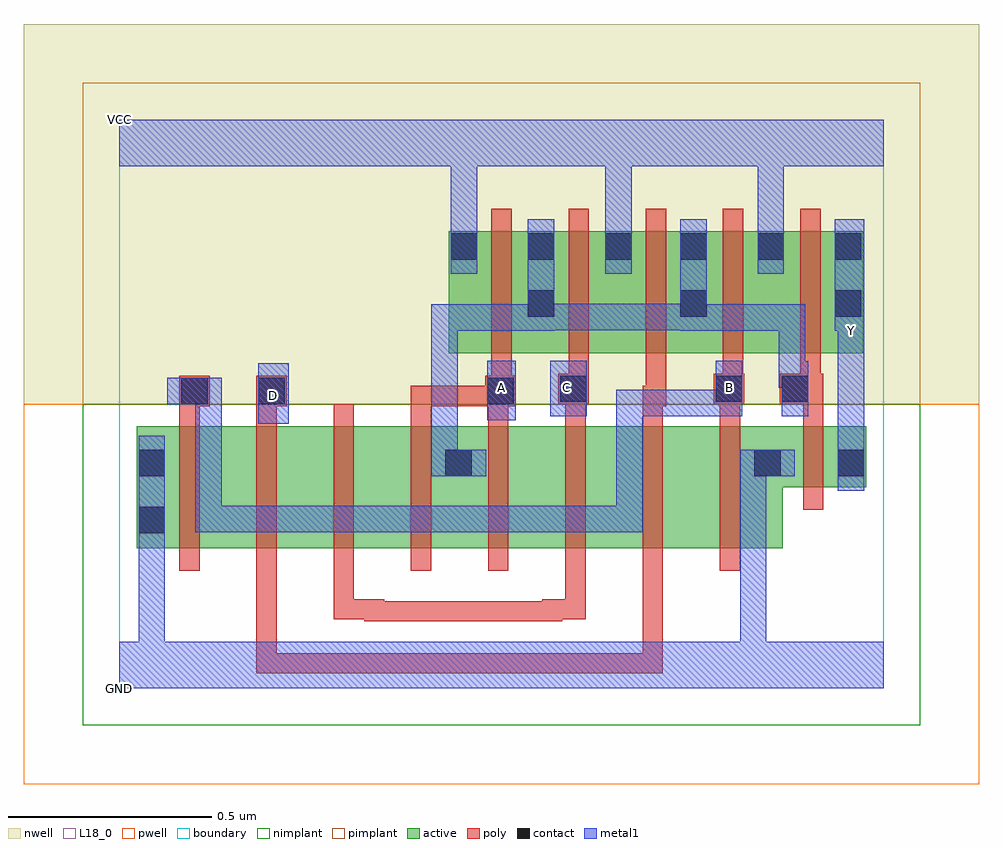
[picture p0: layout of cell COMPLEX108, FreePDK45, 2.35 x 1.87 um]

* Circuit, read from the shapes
.subckt COMPLEX108 A B C D GND VCC Y
M1 n1 B GND VSUBS nfet w=0.3u l=0.05u
M2 n2 D n1 VSUBS nfet w=0.3u l=0.05u
M3 n3 C n2 VSUBS nfet w=0.3u l=0.05u
M4 n4 A n3 VSUBS nfet w=0.3u l=0.05u
M5 n5 A n4 VSUBS nfet w=0.3u l=0.05u
M6 n6 C n5 VSUBS nfet w=0.3u l=0.05u
M7 n7 D n6 VSUBS nfet w=0.3u l=0.05u
M8 GND B n7 VSUBS nfet w=0.3u l=0.05u
M9 Y n4 GND VSUBS nfet w=0.15u l=0.05u
M10 n4 A VCC n8 pfet w=0.3u l=0.05u
M11 VCC C n4 n8 pfet w=0.3u l=0.05u
M12 n4 D VCC n8 pfet w=0.3u l=0.05u
M13 VCC B n4 n8 pfet w=0.3u l=0.05u
M14 Y n4 VCC n8 pfet w=0.3u l=0.05u
.ends

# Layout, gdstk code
import gdstk
lib = gdstk.Library(unit=1e-6, precision=1e-09)
def R(c, l, rs):  # rectangles x0, y0, x1, y1
    for r in rs: c.add(gdstk.rectangle(r[:2], r[2:], *l))
def A(c, l, x, y, w, h, nx, ny, dx, dy):  # array of equal rectangles
    R(c, l, [(x+i*dx, y+j*dy, x+i*dx+w, y+j*dy+h) for i in range(nx) for j in range(ny)])
active = (1, 0)
pwell = (2, 0)
nwell = (3, 0)
nimplant = (4, 0)
pimplant = (5, 0)
poly = (9, 0)
contact = (10, 0)
metal1 = (11, 0)
L18_0 = (18, 0)
boundary = (235, 0)

complex108 = lib.new_cell('COMPLEX108')
A(complex108, active, 1.375, 0.825, 0.075, 0.3, 3, 1, 0.19, 0)
R(complex108, active, [(0.042,0.345,0.267,0.645), (0.042,0.345,0.117,0.645), (0.267,0.345,0.457,0.645), (0.457,0.345,0.647,0.645), (0.647,0.345,0.872,0.645), (0.797,0.345,1.027,0.645), (0.797,0.345,0.872,0.645), (1.027,0.345,1.217,0.645), (1.217,0.345,1.407,0.645), (1.407,0.345,1.632,0.645), (1.557,0.495,1.632,0.645), (1.557,0.495,1.837,0.645), (1.762,0.495,1.837,0.645), (0.81,0.825,0.885,1.125), (0.81,0.825,1.075,1.125), (1,0.825,1.075,1.125), (1,0.825,1.265,1.125), (1.19,0.825,1.45,1.125), (1.375,0.825,1.64,1.125), (1.565,0.825,1.83,1.125), (1.19,0.872,1.265,1.125)])
R(complex108, pwell, [(-0.235,-0.235,2.115,0.7)])
R(complex108, nwell, [(-0.235,0.7,2.115,1.635)])
R(complex108, nimplant, [(-0.09,-0.09,1.97,0.7)])
R(complex108, pimplant, [(-0.09,0.7,1.97,1.49)])
A(complex108, poly, 0.147, 0.29, 0.05, 0.41, 8, 1, 0.19, 0)
A(complex108, poly, 0.915, 0.77, 0.05, 0.41, 5, 1, 0.19, 0)
R(complex108, poly, [(0.337,0.037,0.387,0.34), (0.337,0.037,0.387,0.087), (0.337,0.037,0.387,0.087), (0.337,0.037,0.387,0.087), (0.337,0.037,0.387,0.087), (0.337,0.037,0.387,0.087), (0.337,0.037,0.52,0.087), (0.47,0.037,0.52,0.087), (0.47,0.037,0.52,0.087), (0.47,0.037,0.52,0.087), (0.47,0.037,0.767,0.087), (0.717,0.037,0.767,0.087), (0.717,0.037,0.9,0.087), (0.85,0.037,0.9,0.087), (0.85,0.037,0.9,0.087), (0.85,0.037,0.9,0.087), (0.85,0.037,1.205,0.087), (1.155,0.037,1.205,0.087), (1.155,0.037,1.205,0.087), (1.155,0.037,1.205,0.087), (1.155,0.037,1.337,0.087), (1.287,0.037,1.337,0.34), (1.287,0.037,1.337,0.087), (1.287,0.037,1.337,0.087), (1.287,0.037,1.337,0.087), (1.287,0.037,1.337,0.087), (1.287,0.037,1.337,0.087), (0.602,0.165,0.652,0.22), (0.602,0.165,0.71,0.215), (0.66,0.165,0.71,0.215), (0.66,0.165,0.865,0.215), (0.815,0.165,0.865,0.215), (0.815,0.165,0.9,0.215), (0.85,0.165,0.9,0.215), (0.85,0.165,1.09,0.215), (1.04,0.165,1.09,0.22), (0.527,0.17,0.577,0.22), (0.527,0.17,0.577,0.34), (0.527,0.17,0.652,0.22), (1.04,0.17,1.147,0.22), (1.097,0.17,1.147,0.22), (1.097,0.17,1.147,0.34), (1.682,0.44,1.732,0.7), (0.147,0.65,0.197,0.745), (0.337,0.65,0.387,0.745), (0.717,0.65,0.767,0.745), (0.907,0.65,0.957,0.745), (1.097,0.65,1.147,0.75), (1.287,0.65,1.337,0.745), (1.477,0.65,1.527,0.75), (1.682,0.65,1.732,0.75), (0.147,0.695,0.222,0.77), (0.337,0.695,0.412,0.77), (0.717,0.695,0.767,0.745), (0.717,0.695,0.95,0.745), (0.9,0.695,0.975,0.77), (0.9,0.695,0.95,0.745), (0.9,0.695,0.95,0.745), (1.287,0.695,1.345,0.745), (1.295,0.695,1.345,0.82), (1.08,0.7,1.155,0.775), (1.462,0.7,1.537,0.775), (1.625,0.7,1.732,0.775), (0.915,0.72,0.965,0.82), (1.105,0.725,1.155,0.82), (1.485,0.725,1.535,0.82), (1.675,0.725,1.725,0.82)])
A(complex108, contact, 0.815, 1.055, 0.065, 0.065, 3, 1, 0.19, 0)
A(complex108, contact, 1.38, 1.055, 0.065, 0.065, 3, 1, 0.19, 0)
R(complex108, contact, [(0.047,0.382,0.112,0.447), (0.047,0.522,0.112,0.587), (0.802,0.522,0.867,0.587), (1.562,0.522,1.627,0.587), (1.767,0.522,1.832,0.587), (0.152,0.7,0.217,0.765), (0.342,0.7,0.407,0.765), (0.905,0.7,0.97,0.765), (1.085,0.705,1.15,0.77), (1.467,0.705,1.532,0.77), (1.63,0.705,1.695,0.77), (1.005,0.915,1.07,0.98), (1.38,0.915,1.445,0.98), (1.76,0.915,1.825,0.98)])
R(complex108, metal1, [(0,0,1.88,0.115), (0.047,0.05,0.112,0.115), (0.047,0.05,0.112,0.115), (0.047,0.05,0.112,0.115), (0.047,0.05,0.112,0.115), (0.047,0.05,0.112,0.412), (1.527,0.05,1.592,0.115), (1.527,0.05,1.592,0.115), (1.527,0.05,1.592,0.587), (0.047,0.347,0.112,0.622), (0.187,0.385,0.252,0.45), (0.187,0.385,0.42,0.45), (0.187,0.385,0.252,0.765), (0.355,0.385,0.42,0.45), (0.355,0.385,0.42,0.45), (0.355,0.385,0.42,0.45), (0.355,0.385,0.557,0.45), (0.492,0.385,0.557,0.45), (0.492,0.385,0.695,0.45), (0.63,0.385,0.695,0.45), (0.63,0.385,0.695,0.45), (0.63,0.385,0.695,0.45), (0.63,0.385,0.695,0.45), (0.63,0.385,0.695,0.45), (0.63,0.385,0.902,0.45), (0.837,0.385,0.902,0.45), (0.837,0.385,0.902,0.45), (0.837,0.385,0.902,0.45), (0.837,0.385,1.04,0.45), (0.975,0.385,1.04,0.45), (0.975,0.385,1.04,0.45), (0.975,0.385,1.04,0.45), (0.975,0.385,1.04,0.45), (0.975,0.385,1.04,0.45), (0.975,0.385,1.287,0.45), (1.222,0.385,1.287,0.45), (1.222,0.385,1.287,0.735), (1.767,0.487,1.832,0.622), (0.767,0.522,0.902,0.587), (0.767,0.522,0.832,0.945), (1.527,0.522,1.592,0.587), (1.527,0.522,1.592,0.587), (1.527,0.522,1.662,0.587), (1.767,0.557,1.832,0.877), (0.342,0.652,0.417,0.8), (0.905,0.66,0.975,0.807), (1.06,0.67,1.15,0.807), (1.222,0.67,1.287,0.735), (1.222,0.67,1.287,0.735), (1.222,0.67,1.287,0.735), (1.222,0.67,1.425,0.735), (1.36,0.67,1.425,0.735), (1.36,0.67,1.532,0.735), (1.467,0.67,1.532,0.807), (1.63,0.67,1.695,0.805), (0.117,0.7,0.252,0.765), (0.187,0.7,0.252,0.765), (0.187,0.7,0.252,0.765), (1.622,0.74,1.687,0.805), (1.622,0.74,1.695,0.805), (1.622,0.74,1.687,0.945), (1.767,0.812,1.832,0.947), (0.767,0.88,0.832,0.945), (0.767,0.88,0.832,0.945), (0.767,0.88,0.832,0.945), (0.767,0.88,0.832,0.945), (0.767,0.88,0.832,0.945), (0.767,0.88,1.07,0.945), (1.005,0.88,1.07,1.155), (1.38,0.88,1.445,0.945), (1.38,0.88,1.445,0.945), (1.38,0.88,1.687,0.945), (1.38,0.88,1.445,1.155), (1.622,0.88,1.687,0.945), (1.76,0.88,1.832,1.155), (1.767,0.88,1.832,0.945), (1.005,0.882,1.07,0.947), (1.005,0.882,1.07,0.947), (1.005,0.882,1.287,0.947), (1.222,0.882,1.287,0.947), (1.222,0.882,1.287,0.947), (1.222,0.882,1.287,0.947), (1.222,0.882,1.445,0.947), (0.815,1.02,0.88,1.155), (1.195,1.02,1.26,1.155), (1.57,1.02,1.635,1.155), (0.815,1.09,0.88,1.35), (1.195,1.09,1.26,1.155), (1.195,1.09,1.26,1.155), (1.195,1.09,1.26,1.35), (1.57,1.09,1.635,1.35), (0,1.285,1.88,1.4), (0.815,1.285,0.88,1.35), (0.815,1.285,0.88,1.35), (1.57,1.285,1.635,1.35), (1.57,1.285,1.635,1.35)])
R(complex108, L18_0, [(0,0,1.88,0.115), (0.047,0.05,0.112,0.115), (0.047,0.05,0.112,0.115), (0.047,0.05,0.112,0.115), (0.047,0.05,0.112,0.115), (0.047,0.05,0.112,0.412), (1.527,0.05,1.592,0.115), (1.527,0.05,1.592,0.115), (1.527,0.05,1.592,0.587), (0.047,0.347,0.112,0.622), (0.187,0.385,0.252,0.45), (0.187,0.385,0.252,0.765), (0.187,0.385,0.42,0.45), (0.355,0.385,0.42,0.45), (0.355,0.385,0.42,0.45), (0.355,0.385,0.42,0.45), (0.355,0.385,0.557,0.45), (0.492,0.385,0.557,0.45), (0.492,0.385,0.695,0.45), (0.63,0.385,0.695,0.45), (0.63,0.385,0.695,0.45), (0.63,0.385,0.695,0.45), (0.63,0.385,0.695,0.45), (0.63,0.385,0.695,0.45), (0.63,0.385,0.902,0.45), (0.837,0.385,0.902,0.45), (0.837,0.385,0.902,0.45), (0.837,0.385,0.902,0.45), (0.837,0.385,1.04,0.45), (0.975,0.385,1.04,0.45), (0.975,0.385,1.04,0.45), (0.975,0.385,1.04,0.45), (0.975,0.385,1.04,0.45), (0.975,0.385,1.04,0.45), (0.975,0.385,1.287,0.45), (1.222,0.385,1.287,0.45), (1.222,0.385,1.287,0.735), (1.767,0.487,1.832,0.622), (1.527,0.522,1.592,0.587), (1.527,0.522,1.592,0.587), (1.527,0.522,1.662,0.587), (1.767,0.557,1.832,0.877), (0.342,0.652,0.417,0.8), (0.905,0.66,0.975,0.807), (1.06,0.67,1.15,0.807), (1.222,0.67,1.287,0.735), (1.222,0.67,1.287,0.735), (1.222,0.67,1.287,0.735), (1.222,0.67,1.425,0.735), (1.36,0.67,1.425,0.735), (1.36,0.67,1.532,0.735), (1.467,0.67,1.532,0.807), (0.347,0.687,0.412,0.752), (0.117,0.7,0.252,0.765), (0.187,0.7,0.252,0.765), (0.187,0.7,0.252,0.765), (0.907,0.707,0.972,0.772), (1.067,0.707,1.132,0.772), (1.467,0.707,1.532,0.772), (1.767,0.812,1.832,0.947), (1.767,0.847,1.832,0.912), (1.76,0.88,1.832,1.155), (1.767,0.88,1.832,0.945), (0.815,1.02,0.88,1.155), (1.195,1.02,1.26,1.155), (1.57,1.02,1.635,1.155), (0.815,1.09,0.88,1.35), (1.195,1.09,1.26,1.155), (1.195,1.09,1.26,1.155), (1.195,1.09,1.26,1.35), (1.57,1.09,1.635,1.35), (0,1.285,1.88,1.4), (0.815,1.285,0.88,1.35), (0.815,1.285,0.88,1.35), (1.57,1.285,1.635,1.35), (1.57,1.285,1.635,1.35)])
R(complex108, boundary, [(0,0,1.88,1.4)])
complex108.add(gdstk.Label('A', (0.94,0.74), layer=11, texttype=0))
complex108.add(gdstk.Label('B', (1.5,0.74), layer=11, texttype=0))
complex108.add(gdstk.Label('C', (1.1,0.74), layer=11, texttype=0))
complex108.add(gdstk.Label('D', (0.38,0.72), layer=11, texttype=0))
complex108.add(gdstk.Label('Y', (1.8,0.88), layer=11, texttype=0))
complex108.add(gdstk.Label('VCC', (0,1.4), layer=11, texttype=0))
complex108.add(gdstk.Label('GND', (0,0), layer=11, texttype=0))

lib.write_gds('COMPLEX108.gds')
